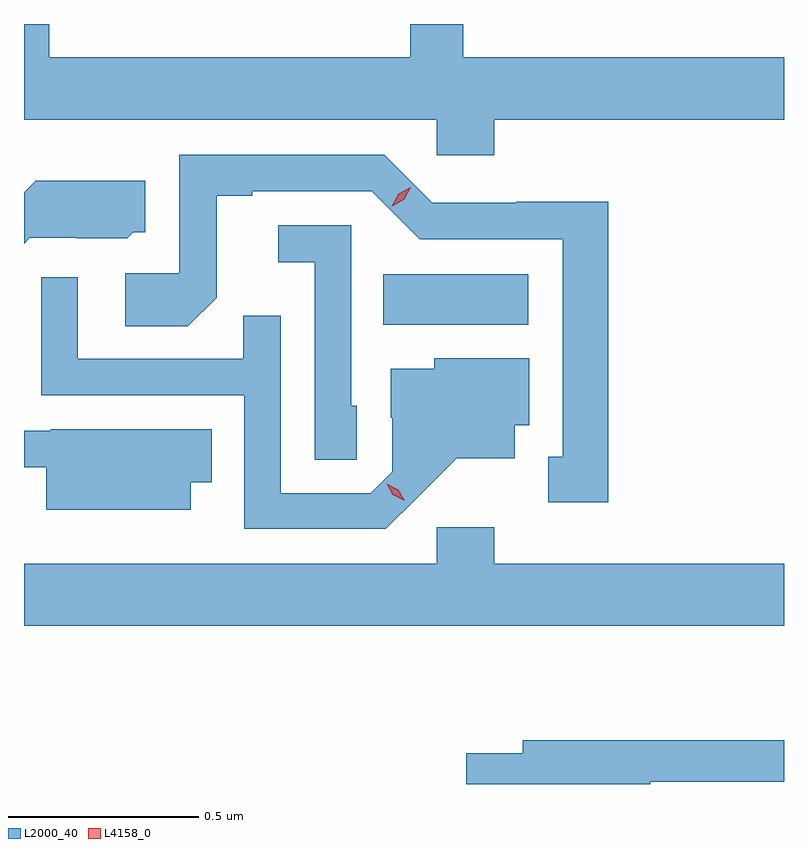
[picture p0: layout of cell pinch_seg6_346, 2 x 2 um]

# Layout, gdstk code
import gdstk
lib = gdstk.Library(unit=1e-6, precision=1e-09)
def R(c, l, rs):  # rectangles x0, y0, x1, y1
    for r in rs: c.add(gdstk.rectangle(r[:2], r[2:], *l))
def P(c, l, *ps):  # polygons
    for p in ps: c.add(gdstk.Polygon(p, *l))
L2000_40 = (2000, 40)
L4158_0 = (4158, 0)

pinch_seg6_346 = lib.new_cell('pinch_seg6_346')
R(pinch_seg6_346, L2000_40, [(749.866,941.468,750.247,941.602)])
P(pinch_seg6_346, L2000_40, [(750.158,942.008),(750.92,942.008),(750.92,942.172),(750.076,942.172),(750.076,942.26),(749.937,942.26),(749.937,942.172),(748.987,942.172),(748.987,942.26),(748.92,942.26),(748.92,942.008),(750.006,942.008),(750.006,941.915),(750.158,941.915)],
  [(750.457,941.792),(750.216,941.792),(750.216,941.79),(749.994,941.79),(749.868,941.916),(749.328,941.916),(749.328,941.604),(749.187,941.604),(749.187,941.464),(749.351,941.464),(749.427,941.54),(749.427,941.808),(749.521,941.808),(749.521,941.82),(749.835,941.82),(749.961,941.694),(750.338,941.694),(750.338,941.121),(750.299,941.121),(750.299,941.001),(750.457,941.001)],
  [(748.935,941.697),(749.058,941.697),(749.058,941.696),(749.192,941.696),(749.208,941.712),(749.239,941.712),(749.239,941.848),(748.951,941.848),(748.92,941.817),(748.92,941.682)],
  [(749.796,941.256),(749.781,941.256),(749.781,941.73),(749.589,941.73),(749.589,941.633),(749.685,941.633),(749.685,941.113),(749.796,941.113)],
  [(749.956,941.015),(750.059,941.117),(750.211,941.117),(750.211,941.204),(750.25,941.204),(750.25,941.38),(750,941.38),(750,941.353),(749.885,941.353),(749.885,941.224),(749.889,941.224),(749.889,941.082),(749.832,941.025),(749.595,941.025),(749.595,941.492),(749.497,941.492),(749.497,941.379),(749.061,941.379),(749.061,941.593),(748.965,941.593),(748.965,941.283),(749.499,941.283),(749.499,940.932),(749.872,940.932)],
  [(749.359,941.054),(749.414,941.054),(749.414,941.194),(748.99,941.194),(748.99,941.19),(748.92,941.19),(748.92,941.093),(748.979,941.093),(748.979,940.982),(749.359,940.982)],
  [(750.92,940.84),(750.158,940.84),(750.158,940.936),(750.006,940.936),(750.006,940.84),(748.92,940.84),(748.92,940.676),(750.92,940.676)],
  [(750.568,940.266),(750.92,940.266),(750.92,940.375),(750.233,940.375),(750.233,940.341),(750.084,940.341),(750.084,940.26),(750.568,940.26)])
P(pinch_seg6_346, L4158_0, [(749.888,941.78),(749.888,941.78),(749.906,941.813),(749.938,941.831),(749.938,941.831),(749.938,941.831),(749.92,941.799),(749.889,941.78)],
  [(749.922,941.005),(749.891,941.021),(749.874,941.05),(749.874,941.05),(749.874,941.05),(749.905,941.035),(749.922,941.006),(749.922,941.005)])

lib.write_gds('pinch_seg6_346.gds')
